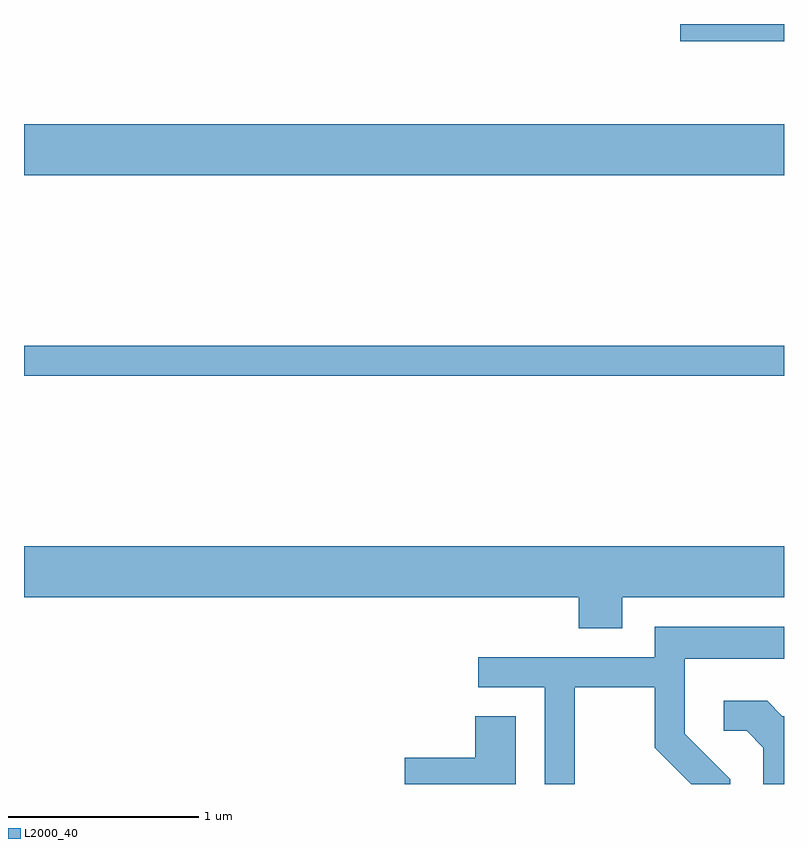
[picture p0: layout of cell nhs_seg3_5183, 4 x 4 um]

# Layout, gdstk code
import gdstk
lib = gdstk.Library(unit=1e-6, precision=1e-09)
def R(c, l, rs):  # rectangles x0, y0, x1, y1
    for r in rs: c.add(gdstk.rectangle(r[:2], r[2:], *l))
def P(c, l, *ps):  # polygons
    for p in ps: c.add(gdstk.Polygon(p, *l))
L2000_40 = (2000, 40)

nhs_seg3_5183 = lib.new_cell('nhs_seg3_5183')
R(nhs_seg3_5183, L2000_40, [(337.611,1156.041,341.611,1156.199), (337.611,1157.096,341.611,1157.364)])
P(nhs_seg3_5183, L2000_40, [(341.611,1157.892),(337.611,1157.892),(337.611,1157.891),(341.066,1157.891),(341.066,1157.801),(341.611,1157.801)],
  [(340.759,1154.876),(341.611,1154.876),(341.611,1155.144),(337.611,1155.144),(337.611,1154.876),(340.531,1154.876),(340.531,1154.711),(340.759,1154.711)],
  [(340.509,1154.401),(340.931,1154.401),(340.931,1154.084),(341.123,1153.892),(341.329,1153.892),(341.329,1153.917),(341.089,1154.157),(341.089,1154.551),(341.611,1154.551),(341.611,1154.719),(340.931,1154.719),(340.931,1154.559),(340.003,1154.559),(340.003,1154.401),(340.351,1154.401),(340.351,1153.892),(340.509,1153.892)],
  [(341.611,1154.249),(341.602,1154.249),(341.522,1154.329),(341.293,1154.329),(341.293,1154.171),(341.414,1154.171),(341.501,1154.084),(341.501,1153.892),(341.611,1153.892)],
  [(340.199,1154.249),(339.986,1154.249),(339.986,1154.029),(339.616,1154.029),(339.616,1153.892),(340.199,1153.892)])

lib.write_gds('nhs_seg3_5183.gds')
